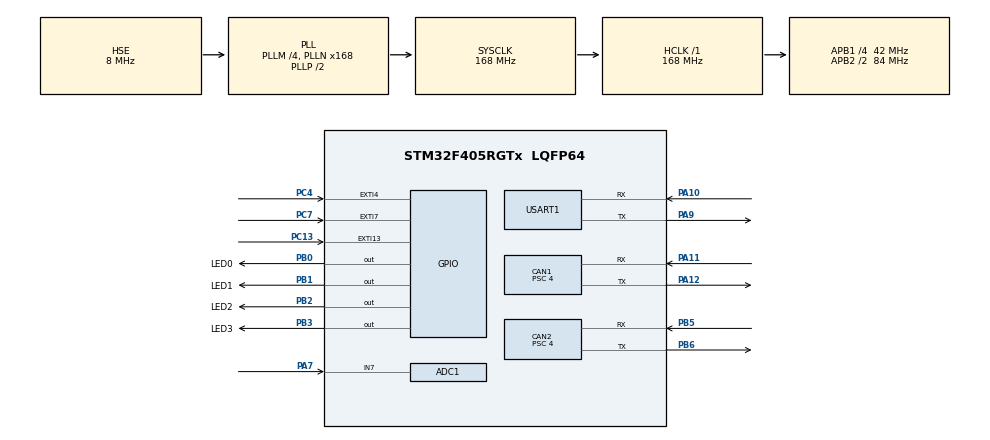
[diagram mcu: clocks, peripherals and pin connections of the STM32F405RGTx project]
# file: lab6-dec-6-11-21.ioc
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ADC1.Channel-1\#ChannelRegularConversion=ADC_CHANNEL_7
ADC1.ContinuousConvMode=ENABLE
ADC1.NbrOfConversionFlag=1
ADC1.Rank-1\#ChannelRegularConversion=1
ADC1.SamplingTime-1\#ChannelRegularConversion=ADC_SAMPLETIME_144CYCLES
ADC1.master=1
CAN1.ABOM=ENABLE
CAN1.AWUM=ENABLE
CAN1.BS1=CAN_BS1_16TQ
CAN1.BS2=CAN_BS2_4TQ
CAN1.CalculateBaudRate=500000
CAN1.CalculateTimeBit=2000
CAN1.CalculateTimeQuantum=95.23809523809524
CAN1.Prescaler=4
CAN1.SJW=CAN_SJW_2TQ
CAN2.ABOM=ENABLE
CAN2.AWUM=ENABLE
CAN2.BS1=CAN_BS1_16TQ
CAN2.BS2=CAN_BS2_4TQ
CAN2.CalculateBaudRate=500000
CAN2.CalculateTimeBit=2000
CAN2.CalculateTimeQuantum=95.23809523809524
CAN2.Prescaler=4
CAN2.SJW=CAN_SJW_2TQ
Mcu.Family=STM32F4
Mcu.Name=STM32F405RGTx
Mcu.Package=LQFP64
NVIC.ADC_IRQn=true\:0\:0\:true\:false\:true\:true\:true\:true
NVIC.CAN1_RX0_IRQn=true\:0\:0\:false\:false\:true\:true\:true\:true
NVIC.CAN2_RX1_IRQn=true\:0\:0\:false\:false\:true\:true\:true\:true
NVIC.EXTI15_10_IRQn=true\:0\:0\:false\:false\:true\:true\:true\:true
NVIC.EXTI4_IRQn=true\:0\:0\:false\:false\:true\:true\:true\:true
NVIC.EXTI9_5_IRQn=true\:0\:0\:false\:false\:true\:true\:true\:true
NVIC.PriorityGroup=NVIC_PRIORITYGROUP_4
NVIC.TIM2_IRQn=true\:2\:0\:true\:false\:true\:true\:true\:true
NVIC.TIM3_IRQn=true\:2\:0\:true\:false\:true\:true\:true\:true
PA10.Mode=Asynchronous
PA10.Signal=USART1_RX
PA11.Mode=CAN_Activate
PA11.Signal=CAN1_RX
PA12.Mode=CAN_Activate
PA12.Signal=CAN1_TX
PA7.Signal=ADCx_IN7
PA9.Mode=Asynchronous
PA9.Signal=USART1_TX
PB0.GPIO_Label=LED0
PB0.Signal=GPIO_Output
PB1.GPIO_Label=LED1
PB1.Signal=GPIO_Output
PB2.GPIO_Label=LED2
PB2.Signal=GPIO_Output
PB3.GPIO_Label=LED3
PB3.Signal=GPIO_Output
PB5.Mode=CAN_Activate
PB5.Signal=CAN2_RX
PB6.Mode=CAN_Activate
PB6.Signal=CAN2_TX
PC13-ANTI_TAMP.GPIO_PuPd=GPIO_PULLUP
PC13-ANTI_TAMP.Signal=GPXTI13
PC4.GPIO_PuPd=GPIO_PULLUP
PC4.Signal=GPXTI4
PC7.GPIO_PuPd=GPIO_PULLUP
PC7.Signal=GPXTI7
PH0-OSC_IN.Mode=HSE-External-Oscillator
PH0-OSC_IN.Signal=RCC_OSC_IN
PH1-OSC_OUT.Mode=HSE-External-Oscillator
PH1-OSC_OUT.Signal=RCC_OSC_OUT
ProjectManager.HeapSize=0x200
ProjectManager.StackSize=0x400
ProjectManager.TargetToolchain=STM32CubeIDE
RCC.48MHZClocksFreq_Value=84000000
RCC.AHBFreq_Value=168000000
RCC.APB1CLKDivider=RCC_HCLK_DIV4
RCC.APB1Freq_Value=42000000
RCC.APB1TimFreq_Value=84000000
RCC.APB2CLKDivider=RCC_HCLK_DIV2
RCC.APB2Freq_Value=84000000
RCC.APB2TimFreq_Value=168000000
RCC.CortexFreq_Value=168000000
RCC.HCLKFreq_Value=168000000
RCC.HSE_VALUE=8000000
RCC.HSI_VALUE=16000000
RCC.LSE_VALUE=32768
RCC.PLLM=4
RCC.PLLN=168
RCC.PLLSourceVirtual=RCC_PLLSOURCE_HSE
RCC.SYSCLKFreq_VALUE=168000000
RCC.SYSCLKSource=RCC_SYSCLKSOURCE_PLLCLK
RCC.VCOOutputFreq_Value=336000000
SH.ADCx_IN7.0=ADC1_IN7,IN7
TIM2.Period=9999
TIM2.Prescaler=8399
TIM3.Period=41999
TIM3.Prescaler=19999
USART1.VirtualMode=VM_ASYNC
VP_TIM2_VS_ClockSourceINT.Mode=Internal
VP_TIM3_VS_ClockSourceINT.Mode=Internal
board=custom

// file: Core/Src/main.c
/* USER CODE BEGIN Header */
/** bai1
 ******************************************************************************
 * @file           : main.c
 * @brief          : Main program body
 ******************************************************************************
 * @attention
 *
 * Copyright (c) 2022 STMicroelectronics.
 * All rights reserved.
 *
 * This software is licensed under terms that can be found in the LICENSE file
 * in the root directory of this software component.
 * If no LICENSE file comes with this software, it is provided AS-IS.
 *
 ******************************************************************************
 */
/* USER CODE END Header */
#include "main.h"

/* USER CODE BEGIN Includes */
#include <stdio.h>
#include <string.h>
#include <stdio.h>
#include <stdlib.h>
/* USER CODE END Includes */

/* USER CODE BEGIN PD */
#define SIGNAL_LEN 6
/* USER CODE END PD */

ADC_HandleTypeDef hadc1;

CAN_HandleTypeDef hcan1;
CAN_HandleTypeDef hcan2;

TIM_HandleTypeDef htim2;
TIM_HandleTypeDef htim3;

UART_HandleTypeDef huart1;

/* USER CODE BEGIN PV */
CAN_TxHeaderTypeDef Node1_TxHeader;
CAN_RxHeaderTypeDef Node1_RxHeader;

uint8_t Node1_TxData[8];
uint8_t Node1_RxData[8];

uint32_t Node1_TxMailbox;

int timer_adc = 0;
int timer_10s = 1;
uint16_t var1 = 0;
uint32_t Seed;
uint32_t KeyECU;
uint32_t KeyTester;
int is_validKey = 1;
int caseFalse = 0;
int is_start = 0;
uint8_t left_button = 0;
uint8_t right_button = 0;
uint8_t middle_button = 0;
uint16_t data_length;
uint8_t number_CF;
uint8_t current_pos;
uint8_t SNum;

uint8_t LEFT_DATA[SIGNAL_LEN] = {0xAA, 0xAA, 0xAA, 0xAA, 0xAA, 0xAA};
uint8_t RIGHT_DATA[SIGNAL_LEN] = {0xFF, 0xFF, 0xFF, 0xFF, 0xFF, 0xFF};
uint8_t MIDDLE_DATA[SIGNAL_LEN] = {0x00, 0x00, 0x00, 0x00, 0x00, 0x00};

uint8_t is_get_Write_data_by_id_node1 = 0;
uint8_t is_get_Write_data_by_id_node2 = 0;

CAN_TxHeaderTypeDef Node2_TxHeader;
CAN_RxHeaderTypeDef Node2_RxHeader;

uint8_t Node2_TxData[8];
uint8_t Node2_RxData[8];

uint32_t Node2_TxMailbox;
/* USER CODE END PV */

void SystemClock_Config(void);
static void MX_GPIO_Init(void);
static void MX_CAN1_Init(void);
static void MX_CAN2_Init(void);
static void MX_USART1_UART_Init(void);
static void MX_TIM2_Init(void);
static void MX_ADC1_Init(void);
static void MX_TIM3_Init(void);
/* USER CODE BEGIN PFP */
#ifdef __GNUC__
/* With GCC/RAISONANCE, small printf (option LD Linker->Libraries->Small printf
 set to 'Yes') calls __io_putchar() */
#define PUTCHAR_PROTOTYPE int __io_putchar(int ch)
#else
#define PUTCHAR_PROTOTYPE int fputc(int ch, FILE *f)
#endif /* __GNUC__ */

/* USER CODE END PFP */

/* USER CODE BEGIN 0 */
uint32_t RandomSeed()
{
	Seed = rand() % (0xFFFFFFFF - 0x1) + 1;
	return Seed;
}
void HAL_CAN_RxFifo0MsgPendingCallback(CAN_HandleTypeDef *hcan)
{
	HAL_CAN_GetRxMessage(hcan, CAN_RX_FIFO0, &Node1_RxHeader, Node1_RxData);

	// if this is send seed (from ECU to tester)
	if (Node1_RxHeader.DLC == 8 && Node1_RxData[1] == 0x67 && Node1_RxData[2] == 0x01)
	{
		Node1_TxData[0] = 0x06;
		Node1_TxData[1] = 0x27;
		Node1_TxData[2] = 0x02;
		Node1_TxData[3] = Node1_RxData[3] + 1;
		Node1_TxData[4] = Node1_RxData[4] + 1;
		Node1_TxData[5] = Node1_RxData[5] + 1;
		Node1_TxData[6] = Node1_RxData[6] + 1;
	    HAL_CAN_AddTxMessage(&hcan1, &Node1_TxHeader, Node1_TxData,
		 &Node1_TxMailbox);
	}

	// if this is response access
	if (Node1_RxHeader.DLC == 8 && Node1_RxData[1] == 0x67 && Node1_RxData[2] == 0x02)
	{
		printf("unlock ECU\r\n\n");
		is_validKey = 1;
		timer_10s = 0;
		is_start = 1;
		HAL_TIM_Base_Start_IT(&htim2);
	}
	if (Node1_RxHeader.DLC == 8 && Node1_RxData[1] == 0x7F && Node1_RxData[2] == 0x67)
	{
		printf("Nagative response from ECU!\r\n");
		if (Node1_RxData[3] == 0x35)
		{
			printf("Invalid key!\r\n");
	  		printf("\nPerpare for request new seed...\r\n\n");
			is_validKey = 0;
			is_start = 1;
			HAL_TIM_Base_Start_IT(&htim3);
		}

	}
	// adc
	if (Node1_RxHeader.DLC == 8 && Node1_RxData[1] == 0x62)
	{
		printf("Tester received ADC value: %x-%x-%x-%x-%x-%x-%x-%x\n", Node1_RxData[0],Node1_RxData[1],Node1_RxData[2],Node1_RxData[3], Node1_RxData[4], Node1_RxData[5], Node1_RxData[6], Node1_RxData[7]);
		HAL_GPIO_TogglePin(LED1_GPIO_Port, LED0_Pin);
	}

	// joystick
	if (Node1_RxHeader.StdId == 0x7A2 && (Node1_RxData[0] >> 4) == 0x3) //Flow control
		{
			HAL_GPIO_TogglePin(LED1_GPIO_Port, LED1_Pin);
			printf("Tester received FC: %x-%x-%x-%x-%x-%x-%x-%x\r\n", Node1_RxData[0],Node1_RxData[1],Node1_RxData[2],Node1_RxData[3], Node1_RxData[4], Node1_RxData[5], Node1_RxData[6], Node1_RxData[7]);

			SNum = 0x00;

			if((data_length-3) % 7 == 0)
				number_CF = (data_length-3)/7;
			else
				number_CF = ((data_length-3)/7) + 1;

			if(left_button == 1 && SNum <= 0x0F)
			{
				for(int i = 0; i < number_CF; i++)
				{
					Node1_TxData[0] = 0x21 + SNum;
					SNum += 0x01;
					for(int j = 1; j<8; j++)
					{
						if(current_pos <= SIGNAL_LEN)
							Node1_TxData[j]=LEFT_DATA[current_pos++];
						else
							Node1_TxData[j] = 0x00;
					}
					HAL_CAN_AddTxMessage(&hcan1, &Node1_TxHeader, Node1_TxData, &Node1_TxMailbox);
				}
			left_button = 0;
			}

			else if(right_button == 1 && SNum <= 0x0F)
			{
				for(int i = 0; i < number_CF; i++)
				{
					Node1_TxData[0] = 0x21 + SNum;
					SNum += 0x01;
					for(int j = 1; j<8; j++)
					{
						if(current_pos <= SIGNAL_LEN)
							Node1_TxData[j]=RIGHT_DATA[current_pos++];
						else
							Node1_TxData[j] = 0x00;
					}
					HAL_CAN_AddTxMessage(&hcan1, &Node1_TxHeader, Node1_TxData, &Node1_TxMailbox);
				}
			right_button = 0;
			}

			else if(middle_button == 1 && SNum <= 0x0F)
			{
				for(int i = 0; i < number_CF; i++)
				{
					Node1_TxData[0] = 0x21 + SNum;
					SNum += 0x01;
					for(int j = 1; j<8; j++)
					{
						if(current_pos <= SIGNAL_LEN)
							Node1_TxData[j]=MIDDLE_DATA[current_pos++];
						else
							Node1_TxData[j] = 0x00;
					}
					HAL_CAN_AddTxMessage(&hcan1, &Node1_TxHeader, Node1_TxData, &Node1_TxMailbox);
				}
			middle_button = 0;
			}
		}
}

void HAL_CAN_RxFifo1MsgPendingCallback(CAN_HandleTypeDef *hcan)
{
	HAL_CAN_GetRxMessage(hcan, CAN_RX_FIFO1, &Node2_RxHeader, Node2_RxData);

	// if this is request seed (from tester to ECU)
	if (Node2_RxHeader.DLC == 8 && Node2_RxData[1] == 0x27 && Node2_RxData[2] == 0x01)
	{
		printf("Request seed\r\n");
//		HAL_Delay(10);
		Node2_TxData[0] = 0x06;
		Node2_TxData[1] = Node2_RxData[1] + 0x40;
		Node2_TxData[2] = 0x01;
		RandomSeed();
		printf("Seed: %x\r\n",Seed);
		Node2_TxData[3] = (Seed & 0xff000000UL) >> 24;
		Node2_TxData[4] = (Seed & 0x00ff0000UL) >> 16;
		Node2_TxData[5] = (Seed & 0x0000ff00UL) >>  8;
		Node2_TxData[6] = (Seed & 0x000000ffUL);
//		printf("compare Seed: %x-%x-%x-%x\n", Node2_TxData[3], Node2_TxData[4], Node2_TxData[5], Node2_TxData[6]);
		KeyECU = Seed + 0x01010101 + caseFalse;
		printf("KeyECU: %x\r\n",KeyECU);
		HAL_CAN_AddTxMessage(&hcan2, &Node2_TxHeader, Node2_TxData,
					 &Node2_TxMailbox);
	}
	// if this is send key (from tester to ECU)
	if (Node2_RxHeader.DLC == 8 && Node2_RxData[1] == 0x27 && Node2_RxData[2] == 0x02)
	{

		KeyTester = (Node2_RxData[3] << 24) + (Node2_RxData[4] << 16) + (Node2_RxData[5] << 8) + Node2_RxData[6];
		printf("Keytester: %x\r\n\n",KeyTester);
		if (KeyTester == KeyECU)
		{
			Node2_TxData[0] = 0x02;
			Node2_TxData[1] = Node2_RxData[1] + 0x40;
			Node2_TxData[2] = 0x02;
		}
		else
		{
			Node2_TxData[0] = 0x03;
			Node2_TxData[1] = 0x7F;
			Node2_TxData[2] = Node2_RxData[1] + 0x40;
			Node2_TxData[3] = 0x35;
		}
		HAL_CAN_AddTxMessage(&hcan2, &Node2_TxHeader, Node2_TxData,
					 &Node2_TxMailbox);
	}
	// adc
	if (Node2_RxHeader.DLC == 8 && Node2_RxData[1] == 0x22)
	{
		// Send response with ADC, Service id + 0x40
		Node2_TxData[1] = Node2_RxData[1] + 0x40;
		Node2_TxData[2] = (var1>>8) & 0xff; //high
		Node2_TxData[3] = var1 & 0xff; //low
		HAL_CAN_AddTxMessage(&hcan2, &Node2_TxHeader, Node2_TxData,
					 &Node2_TxMailbox);
	}

	// joystick
	if (Node2_RxHeader.StdId == 0x712 && Node2_RxData[2] == 0x2E && (Node2_RxData[0] >> 4) == 0x1 && Node2_RxData[3] == 0xF0 && Node2_RxData[4] == 0x02) //write data by Identifier and First frame
		{

			HAL_GPIO_TogglePin(LED1_GPIO_Port, LED2_Pin);
			printf("\n MCU received FF: %x-%x-%x-%x-%x-%x-%x-%x\r\n", Node2_RxData[0],Node2_RxData[1],Node2_RxData[2],Node2_RxData[3], Node2_RxData[4], Node2_RxData[5], Node2_RxData[6], Node2_RxData[7]);

			Node2_TxData[0] = 0x30;
			Node2_TxData[1] = 0x00;
			Node2_TxData[2] = 0x00;
			Node2_TxData[3] = 0x00;	//2E + 40
			Node2_TxData[4] = 0x00;
			Node2_TxData[5] = 0x00;
			Node2_TxData[6] = 0x00;
			Node2_TxData[7] = 0x00;
			HAL_CAN_AddTxMessage(&hcan2, &Node2_TxHeader, Node2_TxData, &Node2_TxMailbox);
		}

		if(Node2_RxHeader.StdId == 0x712 && (Node2_RxData[0] >> 4) == 0x2)
		{
			HAL_GPIO_TogglePin(LED1_GPIO_Port, LED2_Pin);
			printf("MCU received CF: %x-%x-%x-%x-%x-%x-%x-%x\r\n\n", Node2_RxData[0],Node2_RxData[1],Node2_RxData[2],Node2_RxData[3], Node2_RxData[4], Node2_RxData[5], Node2_RxData[6], Node2_RxData[7]);
		}
}
void HAL_TIM_PeriodElapsedCallback(TIM_HandleTypeDef *htim)
{
	if(htim->Instance == htim2.Instance)
	{
		timer_adc = 1;
	}
	if(htim->Instance == htim3.Instance)
	{
		timer_10s = (timer_10s == 0) ? 1 : 0;
		HAL_GPIO_TogglePin(GPIOB, LED0_Pin);
	}
}

/* USER CODE END 0 */

int main(void)
{

  /* MCU Configuration--------------------------------------------------------*/

  /* Reset of all peripherals, Initializes the Flash interface and the Systick. */
  HAL_Init();

  /* Configure the system clock */
  SystemClock_Config();

  /* Initialize all configured peripherals */
  MX_GPIO_Init();
  MX_CAN1_Init();
  MX_CAN2_Init();
  MX_USART1_UART_Init();
  MX_TIM2_Init();
  MX_ADC1_Init();
  MX_TIM3_Init();
  /* USER CODE BEGIN 2 */
  HAL_CAN_Start(&hcan1);
  HAL_CAN_Start(&hcan2);

  // Activate the notification
  HAL_CAN_ActivateNotification(&hcan1, CAN_IT_RX_FIFO0_MSG_PENDING);
  // Activate the notification
  HAL_CAN_ActivateNotification(&hcan2, CAN_IT_RX_FIFO1_MSG_PENDING);
  Node1_TxHeader.DLC = 8;  // data length
  Node1_TxHeader.IDE = CAN_ID_STD;
  Node1_TxHeader.RTR = CAN_RTR_DATA;
  Node1_TxHeader.StdId = 0x712;  // ID

  Node1_TxData[0] = 0x02; //Type 0: Single Frame
  Node1_TxData[1] = 0x27; //Service ID
  Node1_TxData[2] = 0x01;

  Node2_TxHeader.DLC = 8;  // data length
  Node2_TxHeader.IDE = CAN_ID_STD;
  Node2_TxHeader.RTR = CAN_RTR_DATA;
  Node2_TxHeader.StdId = 0x7A2;  // ID
  caseFalse = 1;
	printf("\nSTART PROGRAMMING...\r\n\n");
	printf("Check security!\n");
	HAL_CAN_AddTxMessage(&hcan1, &Node1_TxHeader, Node1_TxData,
	 &Node1_TxMailbox);
  /* USER CODE END 2 */

  /* Infinite loop */
  while (1)
  {

    /* USER CODE BEGIN 3 */
	  if (is_validKey == 0 && timer_10s == 1 && is_start == 1)  // timer10s = 1 (over)
	  	  {
	  		  Node1_TxHeader.DLC = 8;  // data length
	  		  Node1_TxHeader.IDE = CAN_ID_STD;
	  		  Node1_TxHeader.RTR = CAN_RTR_DATA;
	  		  Node1_TxHeader.StdId = 0x712;  // ID

	  		  Node1_TxData[0] = 0x02; //Type 0: Single Frame
	  		  Node1_TxData[1] = 0x27; //Service ID
	  		  Node1_TxData[2] = 0x01;
	  		  caseFalse = 0;
	  		  HAL_CAN_AddTxMessage(&hcan1, &Node1_TxHeader, Node1_TxData,
	  				  &Node1_TxMailbox);
	  		timer_10s = (timer_10s == 0) ? 1 : 0;
	  		HAL_TIM_Base_Stop_IT(&htim3);
	  	  }

	  // read adc value
	  if (is_validKey == 1 && timer_adc == 1 && timer_10s == 0 && is_start == 1)
	  {
		  Node1_TxData[0] = 0x07; //Type 0: Single Frame
		  Node1_TxData[1] = 0x22; //Service ID
		  Node2_TxData[0] = 0x07;
		  Node2_TxData[4] = 0x00;
		  Node2_TxData[5] = 0x00;
		  Node2_TxData[6] = 0x00;
		  Node2_TxData[7] = 0x00;
		  HAL_ADC_Start_IT(&hadc1);
		  HAL_CAN_AddTxMessage(&hcan1, &Node1_TxHeader, Node1_TxData,
			 &Node1_TxMailbox);
		  timer_adc = 0; // flag for timer
	  }

	  // joystick
	  if ((is_validKey == 1) && ((left_button == 1) || (right_button == 1) || (middle_button == 1)) && (timer_10s == 0) && (is_start == 1))
	  	  {
	  		  //Send first frame
	  		  current_pos = 0;

	  		  Node1_TxData[0] = 0x10;
	  		  Node1_TxData[1] = 0x0A; // 0x019 : 0000 0001 1001
	  		  Node1_TxData[2] = 0x2E;

	  		  //DATA ID
	  		  Node1_TxData[3] = 0xF0;
	  		  Node1_TxData[4] = 0x02;

	  		  Node2_TxData[0] = 0x00;
	  		  Node2_TxData[1] = 0x00;
	  		  Node2_TxData[2] = 0x00;
	  		  Node2_TxData[3] = 0x00;
	  		  Node2_TxData[4] = 0x00;
	  		  Node2_TxData[5] = 0x00;
	  		  Node2_TxData[6] = 0x00;
	  		  Node2_TxData[7] = 0x00;

	  		  if(left_button == 1)
	  		  {
	  			  Node1_TxData[5] = LEFT_DATA[current_pos++];
	  		  	  Node1_TxData[6] = LEFT_DATA[current_pos++];
	  		  	  Node1_TxData[7] = LEFT_DATA[current_pos++];
	  		  }
	  		  else if(right_button == 1)
	  		  {
	  			  Node1_TxData[5] = RIGHT_DATA[current_pos++];
	  			  Node1_TxData[6] = RIGHT_DATA[current_pos++];
	  			  Node1_TxData[7] = RIGHT_DATA[current_pos++];
	  		  }
	  		  else if(middle_button == 1)
	  		  {
	  			  Node1_TxData[5] = MIDDLE_DATA[current_pos++];
	  			  Node1_TxData[6] = MIDDLE_DATA[current_pos++];
	  			  Node1_TxData[7] = MIDDLE_DATA[current_pos++];
	  		  }
	  		  data_length = (Node1_TxData[0] & 0x0f) + Node1_TxData[1];
	  		  HAL_CAN_AddTxMessage(&hcan1, &Node1_TxHeader, Node1_TxData, &Node1_TxMailbox);
	  	  }
	  	  HAL_Delay(10);
  }
  /* USER CODE END 3 */
}

void SystemClock_Config(void)
{
  RCC_OscInitTypeDef RCC_OscInitStruct = {0};
  RCC_ClkInitTypeDef RCC_ClkInitStruct = {0};

  /** Configure the main internal regulator output voltage
  */
  __HAL_RCC_PWR_CLK_ENABLE();
  __HAL_PWR_VOLTAGESCALING_CONFIG(PWR_REGULATOR_VOLTAGE_SCALE1);

  /** Initializes the RCC Oscillators according to the specified parameters
  * in the RCC_OscInitTypeDef structure.
  */
  RCC_OscInitStruct.OscillatorType = RCC_OSCILLATORTYPE_HSE;
  RCC_OscInitStruct.HSEState = RCC_HSE_ON;
  RCC_OscInitStruct.PLL.PLLState = RCC_PLL_ON;
  RCC_OscInitStruct.PLL.PLLSource = RCC_PLLSOURCE_HSE;
  RCC_OscInitStruct.PLL.PLLM = 4;
  RCC_OscInitStruct.PLL.PLLN = 168;
  RCC_OscInitStruct.PLL.PLLP = RCC_PLLP_DIV2;
  RCC_OscInitStruct.PLL.PLLQ = 4;
  if (HAL_RCC_OscConfig(&RCC_OscInitStruct) != HAL_OK)
  {
    Error_Handler();
  }

  /** Initializes the CPU, AHB and APB buses clocks
  */
  RCC_ClkInitStruct.ClockType = RCC_CLOCKTYPE_HCLK|RCC_CLOCKTYPE_SYSCLK
                              |RCC_CLOCKTYPE_PCLK1|RCC_CLOCKTYPE_PCLK2;
  RCC_ClkInitStruct.SYSCLKSource = RCC_SYSCLKSOURCE_PLLCLK;
  RCC_ClkInitStruct.AHBCLKDivider = RCC_SYSCLK_DIV1;
  RCC_ClkInitStruct.APB1CLKDivider = RCC_HCLK_DIV4;
  RCC_ClkInitStruct.APB2CLKDivider = RCC_HCLK_DIV2;

  if (HAL_RCC_ClockConfig(&RCC_ClkInitStruct, FLASH_LATENCY_5) != HAL_OK)
  {
    Error_Handler();
  }
}

static void MX_ADC1_Init(void)
{

  ADC_ChannelConfTypeDef sConfig = {0};

  /** Configure the global features of the ADC (Clock, Resolution, Data Alignment and number of conversion)
  */
  hadc1.Instance = ADC1;
  hadc1.Init.ClockPrescaler = ADC_CLOCK_SYNC_PCLK_DIV4;
  hadc1.Init.Resolution = ADC_RESOLUTION_12B;
  hadc1.Init.ScanConvMode = DISABLE;
  hadc1.Init.ContinuousConvMode = ENABLE;
  hadc1.Init.DiscontinuousConvMode = DISABLE;
  hadc1.Init.ExternalTrigConvEdge = ADC_EXTERNALTRIGCONVEDGE_NONE;
  hadc1.Init.ExternalTrigConv = ADC_SOFTWARE_START;
  hadc1.Init.DataAlign = ADC_DATAALIGN_RIGHT;
  hadc1.Init.NbrOfConversion = 1;
  hadc1.Init.DMAContinuousRequests = DISABLE;
  hadc1.Init.EOCSelection = ADC_EOC_SINGLE_CONV;
  if (HAL_ADC_Init(&hadc1) != HAL_OK)
  {
    Error_Handler();
  }

  /** Configure for the selected ADC regular channel its corresponding rank in the sequencer and its sample time.
  */
  sConfig.Channel = ADC_CHANNEL_7;
  sConfig.Rank = 1;
  sConfig.SamplingTime = ADC_SAMPLETIME_144CYCLES;
  if (HAL_ADC_ConfigChannel(&hadc1, &sConfig) != HAL_OK)
  {
    Error_Handler();
  }

}

static void MX_CAN1_Init(void)
{

  hcan1.Instance = CAN1;
  hcan1.Init.Prescaler = 4;
  hcan1.Init.Mode = CAN_MODE_NORMAL;
  hcan1.Init.SyncJumpWidth = CAN_SJW_2TQ;
  hcan1.Init.TimeSeg1 = CAN_BS1_16TQ;
  hcan1.Init.TimeSeg2 = CAN_BS2_4TQ;
  hcan1.Init.TimeTriggeredMode = DISABLE;
  hcan1.Init.AutoBusOff = ENABLE;
  hcan1.Init.AutoWakeUp = ENABLE;
  hcan1.Init.AutoRetransmission = DISABLE;
  hcan1.Init.ReceiveFifoLocked = DISABLE;
  hcan1.Init.TransmitFifoPriority = DISABLE;
  if (HAL_CAN_Init(&hcan1) != HAL_OK)
  {
    Error_Handler();
  }
  /* USER CODE BEGIN CAN1_Init 2 */
  CAN_FilterTypeDef canfilterconfig;

  canfilterconfig.FilterActivation = CAN_FILTER_ENABLE;
  canfilterconfig.FilterBank = 18; // which filter bank to use from the assigned ones
  canfilterconfig.FilterFIFOAssignment = CAN_FILTER_FIFO0;
  canfilterconfig.FilterIdHigh = 0x7A2 << 5;
  canfilterconfig.FilterIdLow = 0;
  canfilterconfig.FilterMaskIdHigh = 0x7A2 << 5;
  canfilterconfig.FilterMaskIdLow = 0x0000;
  canfilterconfig.FilterMode = CAN_FILTERMODE_IDMASK;
  canfilterconfig.FilterScale = CAN_FILTERSCALE_32BIT;
  canfilterconfig.SlaveStartFilterBank = 20; // how many filters to assign to the CAN1 (master can)

  HAL_CAN_ConfigFilter(&hcan1, &canfilterconfig);
  /* USER CODE END CAN1_Init 2 */

}

static void MX_CAN2_Init(void)
{

  hcan2.Instance = CAN2;
  hcan2.Init.Prescaler = 4;
  hcan2.Init.Mode = CAN_MODE_NORMAL;
  hcan2.Init.SyncJumpWidth = CAN_SJW_2TQ;
  hcan2.Init.TimeSeg1 = CAN_BS1_16TQ;
  hcan2.Init.TimeSeg2 = CAN_BS2_4TQ;
  hcan2.Init.TimeTriggeredMode = DISABLE;
  hcan2.Init.AutoBusOff = ENABLE;
  hcan2.Init.AutoWakeUp = ENABLE;
  hcan2.Init.AutoRetransmission = DISABLE;
  hcan2.Init.ReceiveFifoLocked = DISABLE;
  hcan2.Init.TransmitFifoPriority = DISABLE;
  if (HAL_CAN_Init(&hcan2) != HAL_OK)
  {
    Error_Handler();
  }
  /* USER CODE BEGIN CAN2_Init 2 */
  CAN_FilterTypeDef canfilterconfig;

  canfilterconfig.FilterActivation = CAN_FILTER_ENABLE;
  canfilterconfig.FilterBank = 10; // which filter bank to use from the assigned ones
  canfilterconfig.FilterFIFOAssignment = CAN_FILTER_FIFO1;
  canfilterconfig.FilterIdHigh = 0x712 << 5;
  canfilterconfig.FilterIdLow = 0;
  canfilterconfig.FilterMaskIdHigh = 0x712 << 5;
  canfilterconfig.FilterMaskIdLow = 0x0000;
  canfilterconfig.FilterMode = CAN_FILTERMODE_IDMASK;
  canfilterconfig.FilterScale = CAN_FILTERSCALE_32BIT;
  canfilterconfig.SlaveStartFilterBank = 0; // doesn't matter in single can controllers

  HAL_CAN_ConfigFilter(&hcan2, &canfilterconfig);
  /* USER CODE END CAN2_Init 2 */

}

static void MX_TIM2_Init(void)
{

  TIM_ClockConfigTypeDef sClockSourceConfig = {0};
  TIM_MasterConfigTypeDef sMasterConfig = {0};

  htim2.Instance = TIM2;
  htim2.Init.Prescaler = 8399;
  htim2.Init.CounterMode = TIM_COUNTERMODE_UP;
  htim2.Init.Period = 9999;
  htim2.Init.ClockDivision = TIM_CLOCKDIVISION_DIV1;
  htim2.Init.AutoReloadPreload = TIM_AUTORELOAD_PRELOAD_DISABLE;
  if (HAL_TIM_Base_Init(&htim2) != HAL_OK)
  {
    Error_Handler();
  }
  sClockSourceConfig.ClockSource = TIM_CLOCKSOURCE_INTERNAL;
  if (HAL_TIM_ConfigClockSource(&htim2, &sClockSourceConfig) != HAL_OK)
  {
    Error_Handler();
  }
  sMasterConfig.MasterOutputTrigger = TIM_TRGO_RESET;
  sMasterConfig.MasterSlaveMode = TIM_MASTERSLAVEMODE_DISABLE;
  if (HAL_TIMEx_MasterConfigSynchronization(&htim2, &sMasterConfig) != HAL_OK)
  {
    Error_Handler();
  }

}

static void MX_TIM3_Init(void)
{

  TIM_ClockConfigTypeDef sClockSourceConfig = {0};
  TIM_MasterConfigTypeDef sMasterConfig = {0};

  htim3.Instance = TIM3;
  htim3.Init.Prescaler = 19999;
  htim3.Init.CounterMode = TIM_COUNTERMODE_UP;
  htim3.Init.Period = 41999;
  htim3.Init.ClockDivision = TIM_CLOCKDIVISION_DIV1;
  htim3.Init.AutoReloadPreload = TIM_AUTORELOAD_PRELOAD_DISABLE;
  if (HAL_TIM_Base_Init(&htim3) != HAL_OK)
  {
    Error_Handler();
  }
  sClockSourceConfig.ClockSource = TIM_CLOCKSOURCE_INTERNAL;
  if (HAL_TIM_ConfigClockSource(&htim3, &sClockSourceConfig) != HAL_OK)
  {
    Error_Handler();
  }
  sMasterConfig.MasterOutputTrigger = TIM_TRGO_RESET;
  sMasterConfig.MasterSlaveMode = TIM_MASTERSLAVEMODE_DISABLE;
  if (HAL_TIMEx_MasterConfigSynchronization(&htim3, &sMasterConfig) != HAL_OK)
  {
    Error_Handler();
  }

}

static void MX_USART1_UART_Init(void)
{

  huart1.Instance = USART1;
  huart1.Init.BaudRate = 115200;
  huart1.Init.WordLength = UART_WORDLENGTH_8B;
  huart1.Init.StopBits = UART_STOPBITS_1;
  huart1.Init.Parity = UART_PARITY_NONE;
  huart1.Init.Mode = UART_MODE_TX_RX;
  huart1.Init.HwFlowCtl = UART_HWCONTROL_NONE;
  huart1.Init.OverSampling = UART_OVERSAMPLING_16;
  if (HAL_UART_Init(&huart1) != HAL_OK)
  {
    Error_Handler();
  }

}

static void MX_GPIO_Init(void)
{
  GPIO_InitTypeDef GPIO_InitStruct = {0};

  /* GPIO Ports Clock Enable */
  __HAL_RCC_GPIOC_CLK_ENABLE();
  __HAL_RCC_GPIOH_CLK_ENABLE();
  __HAL_RCC_GPIOA_CLK_ENABLE();
  __HAL_RCC_GPIOB_CLK_ENABLE();

  /*Configure GPIO pin Output Level */
  HAL_GPIO_WritePin(GPIOB, LED0_Pin|LED1_Pin|LED2_Pin|LED3_Pin, GPIO_PIN_RESET);

  /*Configure GPIO pins : PC13 PC4 PC7 */
  GPIO_InitStruct.Pin = GPIO_PIN_13|GPIO_PIN_4|GPIO_PIN_7;
  GPIO_InitStruct.Mode = GPIO_MODE_IT_RISING;
  GPIO_InitStruct.Pull = GPIO_PULLUP;
  HAL_GPIO_Init(GPIOC, &GPIO_InitStruct);

  /*Configure GPIO pins : LED0_Pin LED1_Pin LED2_Pin LED3_Pin */
  GPIO_InitStruct.Pin = LED0_Pin|LED1_Pin|LED2_Pin|LED3_Pin;
  GPIO_InitStruct.Mode = GPIO_MODE_OUTPUT_PP;
  GPIO_InitStruct.Pull = GPIO_NOPULL;
  GPIO_InitStruct.Speed = GPIO_SPEED_FREQ_LOW;
  HAL_GPIO_Init(GPIOB, &GPIO_InitStruct);

  /* EXTI interrupt init*/
  HAL_NVIC_SetPriority(EXTI4_IRQn, 0, 0);
  HAL_NVIC_EnableIRQ(EXTI4_IRQn);

  HAL_NVIC_SetPriority(EXTI9_5_IRQn, 0, 0);
  HAL_NVIC_EnableIRQ(EXTI9_5_IRQn);

  HAL_NVIC_SetPriority(EXTI15_10_IRQn, 0, 0);
  HAL_NVIC_EnableIRQ(EXTI15_10_IRQn);

}

/* USER CODE BEGIN 4 */
/**
 * @brief Retargets the C library printf function to the USART.
 * @param None
 * @retval None
 */
PUTCHAR_PROTOTYPE
{
  /* Place your implementation of fputc here */
  /* e.g. write a character to the USART */
  HAL_UART_Transmit(&huart1, (uint8_t*) &ch, 1, 300);
  return ch;
}

void HAL_ADC_ConvCpltCallback(ADC_HandleTypeDef* hadc)
{
	 if(hadc->Instance == hadc1.Instance)
	 {
		 var1 = HAL_ADC_GetValue(&hadc1);
	 }
}
void HAL_GPIO_EXTI_Callback( uint16_t GPIO_Pin)
{
	if(GPIO_Pin == GPIO_PIN_4){
		left_button = 1;
	}
	else if (GPIO_Pin == GPIO_PIN_7){
		right_button = 1;
	}
	else if (GPIO_Pin == GPIO_PIN_13){
			middle_button = 1;
		}
}
/* USER CODE END 4 */

void Error_Handler(void)
{
  __disable_irq();
  while (1)
  {
  }
}
